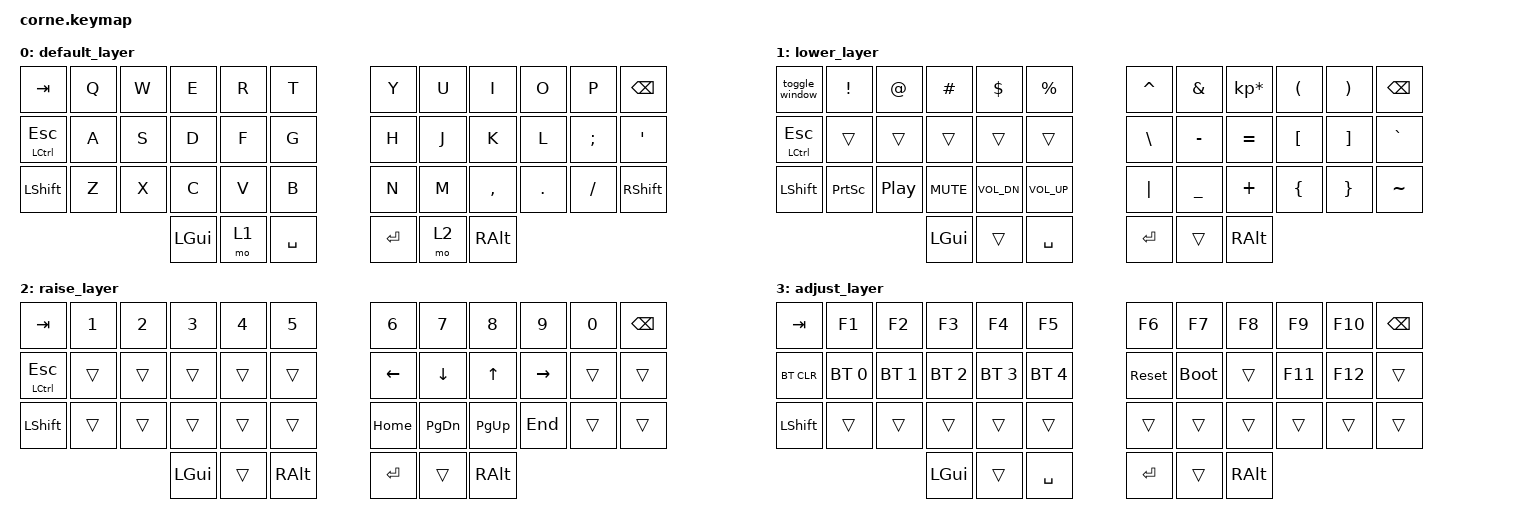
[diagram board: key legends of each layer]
/*
 * Copyright (c) 2020 The ZMK Contributors
 *
 * SPDX-License-Identifier: MIT
 */

#include <behaviors.dtsi>
#include <dt-bindings/zmk/keys.h>
#include <dt-bindings/zmk/bt.h>

#define DEFAULT 0
#define LOWER 1
#define RAISE 2
#define ADJUST 3

&mt {
    tapping-term-ms = <200>;
};

/ {
        conditional_layers {
          compatible = "zmk,conditional-layers";
          tri_layer {
            if-layers = <LOWER RAISE>;
            then-layer = <ADJUST>;
          };
        };

        macros {
            toggle_window: toggle_window {
                label = "toggle_window";
                compatible = "zmk,behavior-macro";
                #binding-cells = <0>;
                bindings
                    = <&macro_press &kp LGUI>
                    , <&macro_tap &kp TILDE>
                    , <&macro_release &kp LGUI>
                    ;
            };
        };

        keymap {
                compatible = "zmk,keymap";

                default_layer {
                    // |  TAB     |  Q |  W |  E |  R |  T |     |  Y |  U |  I |  O |  P | BKSP |
                    // | CTRL+ESC |  A |  S |  D |  F |  G |     |  H |  J |  K |  L |  ; |  '   |
                    // | SHFT     |  Z |  X |  C |  V |  B |     |  N |  M |  , |  . |  / | SHFT |
                    //                   | GUI | LWR | SPC |     | ENT | RSE | ALT |
                    bindings = <
                        &kp TAB        &kp Q &kp W &kp E &kp R &kp T   &kp Y &kp U  &kp I  &kp O  &kp P  &kp BSPC
                        &mt LCTRL ESC  &kp A &kp S &kp D &kp F &kp G   &kp H &kp J  &kp K  &kp L  &kp SEMI &kp SQT
                        &kp LSHFT      &kp Z &kp X &kp C &kp V &kp B   &kp N &kp M  &kp COMMA &kp DOT &kp FSLH &kp RSHFT
                                              &kp LGUI &mo 1 &kp SPACE &kp RET &mo 2 &kp RALT
                    >;
                };

                lower_layer {
                    // | LGUI+`   | ! | @ |  #  | $ |  %  |     |  ^  |  & |  *  |  ( |  ) | BKSP |
                    // | CTRL+ESC |   |   |     |   |     |     |  \  |  - |  =  |  [ |  ] |  `   |
                    // | LSHFT  |PSCRN|pause|mute|vol dn|vol up|     | "|" |  _ |  +  |  { |  } |  ~   |
                    //                    | GUI |   | SPC |     | ENT |    | ALT |
                    bindings = <
                        &toggle_window &kp EXCL &kp AT &kp HASH &kp DLLR &kp PRCNT &kp CARET &kp AMPS &kp KP_MULTIPLY &kp LPAR &kp RPAR &kp BSPC
                        &mt LCTRL ESC  &trans   &trans &trans   &trans   &trans   &kp BSLH  &kp MINUS &kp EQUAL &kp LBKT &kp RBKT &kp GRAVE
                        &kp LSHFT      &kp PSCRN &kp C_PP &kp C_MUTE &kp C_VOL_DN &kp C_VOL_UP   &kp PIPE  &kp UNDER &kp PLUS &kp LBRC &kp RBRC &kp TILDE
                                                  &kp LGUI &trans &kp SPACE &kp RET &trans &kp RALT
                    >;
                };

                raise_layer {
                    // |  TAB     |  1  |  2  |  3  |  4  |  5  |     |  6  |  7  |  8  |  9  |  0  | BKSP |
                    // | CTRL+ESC |     |     |     |     |     |     | LFT | DWN |  UP | RGT |     |      |
                    // | LSHFT    |     |     |     |     |     |     | HOM | PGD | PGU | END |     |      |
                    //                        | GUI |     | ALT |     | ENT |     | ALT |
                    bindings = <
                        &kp TAB       &kp N1   &kp N2   &kp N3   &kp N4   &kp N5    &kp N6   &kp N7    &kp N8    &kp N9    &kp N0  &kp BSPC
                        &mt LCTRL ESC &trans   &trans   &trans   &trans   &trans    &kp LEFT &kp DOWN  &kp UP    &kp RIGHT &trans  &trans
                        &kp LSHFT     &trans   &trans   &trans   &trans   &trans    &kp HOME &kp PG_DN &kp PG_UP &kp END   &trans  &trans
                                                       &kp LGUI  &trans   &kp RALT &kp RET  &trans    &kp RALT
                    >;
                };

                adjust_layer {
                    // |  TAB   |  F1 |  F2 |  F3 |  F4 |  F5 |     |  F6 |  F7 |  F8 |  F9 |  F10 | BKSP |
                    // | BT_CLR | BT1 | BT2 | BT3 | BT4 | BT5 |     | RST | BOOT|     | F11 |  F12 |      |
                    // | SHFT   |     |     |     |     |     |     |     |     |     |     |      |      |
                    //                      | GUI |     | SPC |     | ENT |     | ALT |
                    bindings = <
                        &kp TAB     &kp F1   &kp F2   &kp F3   &kp F4   &kp F5   &kp F6   &kp F7   &kp F8   &kp F9   &kp F10  &kp BSPC
                        &bt BT_CLR  &bt BT_SEL 0 &bt BT_SEL 1 &bt BT_SEL 2 &bt BT_SEL 3 &bt BT_SEL 4 &sys_reset &bootloader &trans &kp F11 &kp F12 &trans
                        &kp LSHFT   &trans   &trans   &trans   &trans   &trans   &trans   &trans   &trans   &trans   &trans   &trans
                                                  &kp LGUI &trans   &kp SPACE &kp RET &trans   &kp RALT
                    >;
                };
        };
};
